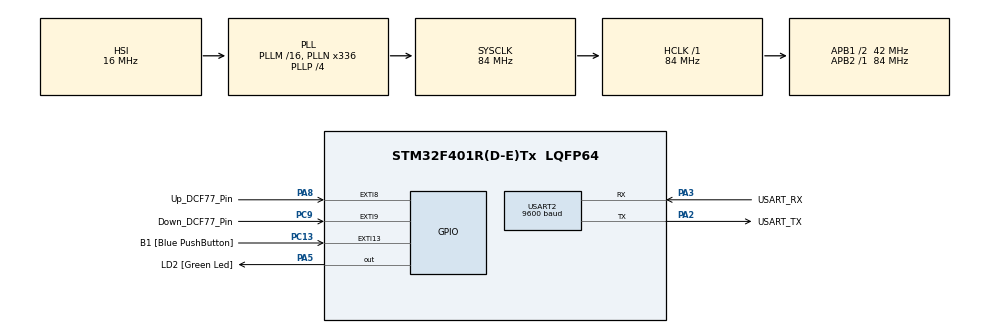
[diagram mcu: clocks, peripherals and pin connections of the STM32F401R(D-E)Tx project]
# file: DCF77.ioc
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Mcu.Family=STM32F4
Mcu.Name=STM32F401R(D-E)Tx
Mcu.Package=LQFP64
NVIC.EXTI9_5_IRQn=true\:0\:0\:false\:false\:true\:true
NVIC.PriorityGroup=NVIC_PRIORITYGROUP_0
PA13.GPIO_Label=TMS
PA13.Mode=Serial_Wire
PA13.Signal=SYS_JTMS-SWDIO
PA14.GPIO_Label=TCK
PA14.Mode=Serial_Wire
PA14.Signal=SYS_JTCK-SWCLK
PA2.GPIO_Label=USART_TX
PA2.GPIO_Mode=GPIO_MODE_AF_PP
PA2.GPIO_PuPd=GPIO_NOPULL
PA2.GPIO_Speed=GPIO_SPEED_FREQ_LOW
PA2.Mode=Asynchronous
PA2.Signal=USART2_TX
PA3.GPIO_Label=USART_RX
PA3.GPIO_Mode=GPIO_MODE_AF_PP
PA3.GPIO_PuPd=GPIO_NOPULL
PA3.GPIO_Speed=GPIO_SPEED_FREQ_LOW
PA3.Mode=Asynchronous
PA3.Signal=USART2_RX
PA5.GPIO_Label=LD2 [Green Led]
PA5.GPIO_Mode=GPIO_MODE_OUTPUT_PP
PA5.GPIO_PuPd=GPIO_NOPULL
PA5.GPIO_Speed=GPIO_SPEED_FREQ_LOW
PA5.Signal=GPIO_Output
PA8.GPIO_Label=Up_DCF77_Pin
PA8.Signal=GPXTI8
PB3.GPIO_Label=SWO
PB3.Signal=SYS_JTDO-SWO
PC13-ANTI_TAMP.GPIO_Label=B1 [Blue PushButton]
PC13-ANTI_TAMP.GPIO_ModeDefaultEXTI=GPIO_MODE_IT_FALLING
PC13-ANTI_TAMP.GPIO_PuPd=GPIO_NOPULL
PC13-ANTI_TAMP.Signal=GPXTI13
PC14-OSC32_IN.Mode=LSE-External-Oscillator
PC14-OSC32_IN.Signal=RCC_OSC32_IN
PC15-OSC32_OUT.Mode=LSE-External-Oscillator
PC15-OSC32_OUT.Signal=RCC_OSC32_OUT
PC9.GPIO_Label=Down_DCF77_Pin
PC9.GPIO_ModeDefaultEXTI=GPIO_MODE_IT_FALLING
PC9.Signal=GPXTI9
PH0\ -\ OSC_IN.Mode=HSE-External-Clock-Source
PH0\ -\ OSC_IN.Signal=RCC_OSC_IN
PH1\ -\ OSC_OUT.Mode=HSE-External-Clock-Source
PH1\ -\ OSC_OUT.Signal=RCC_OSC_OUT
ProjectManager.HeapSize=0x200
ProjectManager.StackSize=0x400
ProjectManager.TargetToolchain=Makefile
RCC.48MHZClocksFreq_Value=48000000
RCC.AHBFreq_Value=84000000
RCC.APB1CLKDivider=RCC_HCLK_DIV2
RCC.APB1Freq_Value=42000000
RCC.APB1TimFreq_Value=84000000
RCC.APB2Freq_Value=84000000
RCC.APB2TimFreq_Value=84000000
RCC.CortexFreq_Value=84000000
RCC.HCLKFreq_Value=84000000
RCC.HSE_VALUE=8000000
RCC.HSI_VALUE=16000000
RCC.PLLN=336
RCC.PLLP=RCC_PLLP_DIV4
RCC.PLLQ=7
RCC.SYSCLKFreq_VALUE=84000000
RCC.SYSCLKSource=RCC_SYSCLKSOURCE_PLLCLK
RCC.VCOOutputFreq_Value=336000000
USART2.BaudRate=9600
USART2.VirtualMode=VM_ASYNC
board=NUCLEO-F401RE

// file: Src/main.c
/* USER CODE BEGIN Header */
/**
  ******************************************************************************
  * @file           : main.c
  * @brief          : Main program body
  ******************************************************************************
  ** This notice applies to any and all portions of this file
  * that are not between comment pairs USER CODE BEGIN and
  * USER CODE END. Other portions of this file, whether
  * inserted by the user or by software development tools
  * are owned by their respective copyright owners.
  *
  * COPYRIGHT(c) 2019 STMicroelectronics
  *
  * Redistribution and use in source and binary forms, with or without modification,
  * are permitted provided that the following conditions are met:
  *   1. Redistributions of source code must retain the above copyright notice,
  *      this list of conditions and the following disclaimer.
  *   2. Redistributions in binary form must reproduce the above copyright notice,
  *      this list of conditions and the following disclaimer in the documentation
  *      and/or other materials provided with the distribution.
  *   3. Neither the name of STMicroelectronics nor the names of its contributors
  *      may be used to endorse or promote products derived from this software
  *      without specific prior written permission.
  *
  * THIS SOFTWARE IS PROVIDED BY THE COPYRIGHT HOLDERS AND CONTRIBUTORS "AS IS"
  * AND ANY EXPRESS OR IMPLIED WARRANTIES, INCLUDING, BUT NOT LIMITED TO, THE
  * IMPLIED WARRANTIES OF MERCHANTABILITY AND FITNESS FOR A PARTICULAR PURPOSE ARE
  * DISCLAIMED. IN NO EVENT SHALL THE COPYRIGHT HOLDER OR CONTRIBUTORS BE LIABLE
  * FOR ANY DIRECT, INDIRECT, INCIDENTAL, SPECIAL, EXEMPLARY, OR CONSEQUENTIAL
  * DAMAGES (INCLUDING, BUT NOT LIMITED TO, PROCUREMENT OF SUBSTITUTE GOODS OR
  * SERVICES; LOSS OF USE, DATA, OR PROFITS; OR BUSINESS INTERRUPTION) HOWEVER
  * CAUSED AND ON ANY THEORY OF LIABILITY, WHETHER IN CONTRACT, STRICT LIABILITY,
  * OR TORT (INCLUDING NEGLIGENCE OR OTHERWISE) ARISING IN ANY WAY OUT OF THE USE
  * OF THIS SOFTWARE, EVEN IF ADVISED OF THE POSSIBILITY OF SUCH DAMAGE.
  *
  ******************************************************************************
  */
/* USER CODE END Header */

#include "main.h"
#include "usart.h"
#include "gpio.h"

/* USER CODE BEGIN Includes */
#include "stm32f4xx_it.h"
/* USER CODE END Includes */

void SystemClock_Config(void);

/* USER CODE BEGIN 0 */
extern char isComplete;
extern char data[60];
dcf77_time_struct time;
char msg[] ="anne : mois : date : jour : heur : min  : ";
char retligne = '\n';
/* USER CODE END 0 */

int main(void)
{

  /* MCU Configuration--------------------------------------------------------*/

  /* Reset of all peripherals, Initializes the Flash interface and the Systick. */
  HAL_Init();

  /* Configure the system clock */
  SystemClock_Config();

  /* Initialize all configured peripherals */
  MX_GPIO_Init();
  MX_USART2_UART_Init();

  /* Infinite loop */
  /* USER CODE BEGIN WHILE */
  while (1)
  {
    if(isComplete){
      //parse data
      decoderDcf77(&time, data);
      //translate  to char
      time2char(&time);
      //send uart
      //char* msg[] ="anne : mois : date : jour : heur : min  : ";
      transmitTime();
      isComplete =0;
    }
    //transmitTime();
    /* USER CODE END WHILE */

  }
}

void SystemClock_Config(void)
{
  RCC_OscInitTypeDef RCC_OscInitStruct = {0};
  RCC_ClkInitTypeDef RCC_ClkInitStruct = {0};

  /**Configure the main internal regulator output voltage
  */
  __HAL_RCC_PWR_CLK_ENABLE();
  __HAL_PWR_VOLTAGESCALING_CONFIG(PWR_REGULATOR_VOLTAGE_SCALE2);
  /**Initializes the CPU, AHB and APB busses clocks
  */
  RCC_OscInitStruct.OscillatorType = RCC_OSCILLATORTYPE_HSI;
  RCC_OscInitStruct.HSIState = RCC_HSI_ON;
  RCC_OscInitStruct.HSICalibrationValue = RCC_HSICALIBRATION_DEFAULT;
  RCC_OscInitStruct.PLL.PLLState = RCC_PLL_ON;
  RCC_OscInitStruct.PLL.PLLSource = RCC_PLLSOURCE_HSI;
  RCC_OscInitStruct.PLL.PLLM = 16;
  RCC_OscInitStruct.PLL.PLLN = 336;
  RCC_OscInitStruct.PLL.PLLP = RCC_PLLP_DIV4;
  RCC_OscInitStruct.PLL.PLLQ = 7;
  if (HAL_RCC_OscConfig(&RCC_OscInitStruct) != HAL_OK)
  {
    Error_Handler();
  }
  /**Initializes the CPU, AHB and APB busses clocks
  */
  RCC_ClkInitStruct.ClockType = RCC_CLOCKTYPE_HCLK|RCC_CLOCKTYPE_SYSCLK
                              |RCC_CLOCKTYPE_PCLK1|RCC_CLOCKTYPE_PCLK2;
  RCC_ClkInitStruct.SYSCLKSource = RCC_SYSCLKSOURCE_PLLCLK;
  RCC_ClkInitStruct.AHBCLKDivider = RCC_SYSCLK_DIV1;
  RCC_ClkInitStruct.APB1CLKDivider = RCC_HCLK_DIV2;
  RCC_ClkInitStruct.APB2CLKDivider = RCC_HCLK_DIV1;

  if (HAL_RCC_ClockConfig(&RCC_ClkInitStruct, FLASH_LATENCY_2) != HAL_OK)
  {
    Error_Handler();
  }
}

/* USER CODE BEGIN 4 */

int decoderDcf77( dcf77_time_struct * time , char* sig){
	time->minutes = sig[21] + (sig[22] * 2) + sig[23]*4 + sig[24]*8 + sig[25]*10 + sig[26]*20 +sig[27]*40;
	time->heure = sig[29] +sig[30]*2 +sig[31] *4 + sig[32]*8 + sig[33]*10 + sig[34]*20;
	time->date = sig[36] + sig[37]*2 + sig[38]*4 +sig[39]*8 +sig[40]*10 +sig[41]*20;
	time->jour = sig[42] + sig[43]*2 + sig[44]*4;
	time->mois = sig[45] + sig[46]*2 +sig[47]*4+ sig[48]*8 + sig[49]*10;
	time->anne = sig[50] + sig[51]*2 + sig[52]*4 +sig[53]*8 +sig[54]*10 +sig[55]*20 + sig[56]*40 + sig[57]*80;
	//test sur la parité etc TODO

	return 1;
}
void time2char(dcf77_time_struct * time){
  time->minutes += 48;
  time->heure+= 48;
  time->jour+= 48;
  time->date+= 48;
  time->anne+= 48;
  time->mois+= 48;
}
void transmitTime(){
HAL_UART_Transmit(&huart2,data,60,100);
/*
  HAL_UART_Transmit(&huart2,msg,7,10);
  HAL_UART_Transmit(&huart2,&(time.anne),1,10);
  HAL_UART_Transmit(&huart2,msg+7,7,10);
  HAL_UART_Transmit(&huart2,&(time.mois),1,10);
  HAL_UART_Transmit(&huart2,msg+14,7,10);
  HAL_UART_Transmit(&huart2,&(time.date),1,10);
  HAL_UART_Transmit(&huart2,msg+21,7,10);
  HAL_UART_Transmit(&huart2,&(time.jour),1,10);
  HAL_UART_Transmit(&huart2,msg+28,7,10);
  HAL_UART_Transmit(&huart2,&(time.heure),1,10);
  HAL_UART_Transmit(&huart2,msg+35,7,10);
  HAL_UART_Transmit(&huart2,&(time.minutes),1,10);
  HAL_UART_Transmit(&huart2,&retligne,1,10);
*/
}
/* USER CODE END 4 */

void Error_Handler(void)
{
}

/************************ (C) COPYRIGHT STMicroelectronics *****END OF FILE****/
